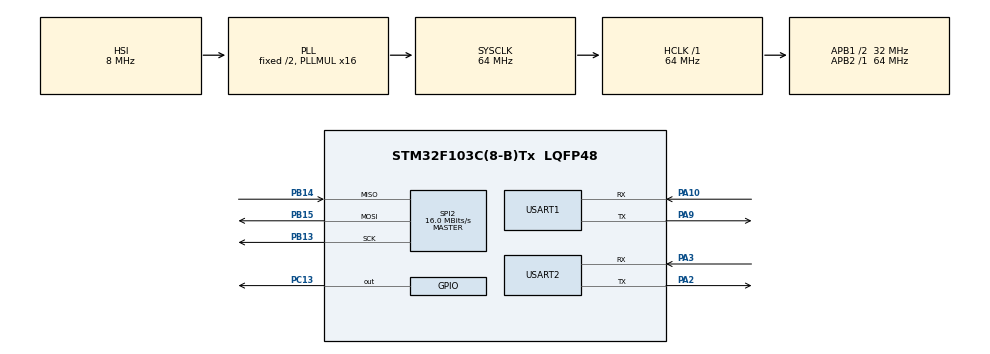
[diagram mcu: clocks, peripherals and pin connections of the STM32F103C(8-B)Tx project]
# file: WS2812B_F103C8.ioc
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Mcu.Family=STM32F1
Mcu.Name=STM32F103C(8-B)Tx
Mcu.Package=LQFP48
NVIC.PriorityGroup=NVIC_PRIORITYGROUP_4
NVIC.SPI2_IRQn=true\:0\:0\:false\:false\:true\:true\:true\:true
NVIC.USART1_IRQn=true\:0\:0\:false\:false\:true\:true\:true\:true
NVIC.USART2_IRQn=true\:0\:0\:false\:false\:true\:true\:true\:true
PA10.Mode=Asynchronous
PA10.Signal=USART1_RX
PA13.Mode=Serial_Wire
PA13.Signal=SYS_JTMS-SWDIO
PA14.Mode=Serial_Wire
PA14.Signal=SYS_JTCK-SWCLK
PA2.Mode=Asynchronous
PA2.Signal=USART2_TX
PA3.Mode=Asynchronous
PA3.Signal=USART2_RX
PA9.Mode=Asynchronous
PA9.Signal=USART1_TX
PB13.Mode=Full_Duplex_Master
PB13.Signal=SPI2_SCK
PB14.Mode=Full_Duplex_Master
PB14.Signal=SPI2_MISO
PB15.Mode=Full_Duplex_Master
PB15.Signal=SPI2_MOSI
PC13-TAMPER-RTC.Signal=GPIO_Output
ProjectManager.HeapSize=0x200
ProjectManager.StackSize=0x400
ProjectManager.TargetToolchain=Makefile
RCC.AHBFreq_Value=64000000
RCC.APB1CLKDivider=RCC_HCLK_DIV2
RCC.APB1Freq_Value=32000000
RCC.APB1TimFreq_Value=64000000
RCC.APB2Freq_Value=64000000
RCC.APB2TimFreq_Value=64000000
RCC.HCLKFreq_Value=64000000
RCC.PLLMUL=RCC_PLL_MUL16
RCC.SYSCLKFreq_VALUE=64000000
RCC.SYSCLKSource=RCC_SYSCLKSOURCE_PLLCLK
RCC.USBFreq_Value=64000000
SPI2.CalculateBaudRate=16.0 MBits/s
SPI2.Direction=SPI_DIRECTION_2LINES
SPI2.Mode=SPI_MODE_MASTER
SPI2.VirtualType=VM_MASTER
TIM4.Channel-Output\ Compare1\ No\ Output=TIM_CHANNEL_1
USART1.VirtualMode=VM_ASYNC
USART2.VirtualMode=VM_ASYNC
VP_TIM4_VS_no_output1.Mode=Output Compare1 No Output
board=custom

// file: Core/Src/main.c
/* USER CODE BEGIN Header */
/**
  ******************************************************************************
  * @file           : main.c
  * @brief          : Main program body
  ******************************************************************************
  * @attention
  *
  * Copyright (c) 2025 STMicroelectronics.
  * All rights reserved.
  *
  * This software is licensed under terms that can be found in the LICENSE file
  * in the root directory of this software component.
  * If no LICENSE file comes with this software, it is provided AS-IS.
  *
  ******************************************************************************
  */
/* USER CODE END Header */
#include "main.h"

/* USER CODE BEGIN Includes */
#include "NOS_Lib.h"
/* USER CODE END Includes */

SPI_HandleTypeDef hspi2;

TIM_HandleTypeDef htim4;

UART_HandleTypeDef huart1;
UART_HandleTypeDef huart2;

/* USER CODE BEGIN PV */
extern uint8_t frameBufferA[3 * 512];
extern uint8_t frameBufferB[3 * 512];
extern uint8_t frameBufferC[3 * 512];
extern uint8_t frameBufferD[3 * 512];

NOS_TimeEvent screenUpdateEvent = {0};

WS2812B_Strip stripA = {0};
WS2812B_Strip stripB = {0};
WS2812B_Strip stripC = {0};
WS2812B_Strip stripD = {0};

PixelColor pixelsA[512];
PixelColor pixelsB[512];
PixelColor pixelsC[512];
PixelColor pixelsD[512];

NOS_UART_Struct UART2;
NOS_UART_Struct UART1;

int receiveTime = 0;

int uartPixelCount = 0;

int currColor = 0;
int buttonDelay = 0;

Effect_Struct breatheA = {0};
Effect_Struct rainbowA = {0};
Effect_Struct dotsA = {0};
Effect_Struct walkingPixelA = {0};
Effect_Struct steadyColorA = {0};

NOS_Short value;

UART_Message lastMessage;
UART_Message bluetoothMessage;

NOS_Flash_Chunk tempInitChunk = {0};

NOS_Flash_Memory_Struct flashMemoryStruct = {0};

PixelColor nullColor = {0,0,0};
PixelColor white = {255,255,255};

/* USER CODE END PV */

void SystemClock_Config(void);
static void MX_GPIO_Init(void);
static void MX_TIM4_Init(void);
static void MX_USART2_UART_Init(void);
static void MX_SPI2_Init(void);
static void MX_USART1_UART_Init(void);

/* USER CODE BEGIN 0 */

void HAL_UART_RxCpltCallback(UART_HandleTypeDef* huart) {
  if(huart->Instance == USART2)
  {
    NOS_UART_ReceiveHandler(&UART2,huart);

  }

  if(huart->Instance == USART1)
  {
    NOS_UART_ReceiveHandler(&UART1,huart);

  }
}

bool tick = false;
bool screenUpdate = false;
/* USER CODE END 0 */
//#define FLASH_REBUILD
int main(void)
{

  /* MCU Configuration--------------------------------------------------------*/

  /* Reset of all peripherals, Initializes the Flash interface and the Systick. */
  HAL_Init();

  /* Configure the system clock */
  SystemClock_Config();

  /* Initialize all configured peripherals */
  MX_GPIO_Init();
  MX_TIM4_Init();
  MX_USART2_UART_Init();
  MX_SPI2_Init();
  MX_USART1_UART_Init();
  /* USER CODE BEGIN 2 */

  HAL_UART_Receive_IT(&huart1,UART1.rx_buff,1);
  HAL_UART_Receive_IT(&huart2,UART2.rx_buff,1);

 // HAL_UART_Transmit(&huart1,"HELLO",sizeof("HELLO"),1000);
  HAL_UART_Transmit(&huart2,"HELLO",sizeof("HELLO"),1000);

  visInit();

  NOS_WS2812B_Strip_FullInit(&stripA,&frameBufferA,&pixelsA,128);
  NOS_WS2812B_Strip_FullInit(&stripB,&frameBufferB,&pixelsB,128);
  NOS_WS2812B_Strip_FullInit(&stripC,&frameBufferC,&pixelsC,128);
  NOS_WS2812B_Strip_FullInit(&stripD,&frameBufferD,&pixelsD,128);

  NOS_TimeEvent_Init(&screenUpdateEvent, 20);

  NOS_UART_ReceiveAbort(&UART2,&huart2);
  NOS_UART_ReceiveAbort(&UART1,&huart1);

  NOS_FlashMemory_Struct_Init(&flashMemoryStruct,FLASH_STORAGE_A);

  NOS_Flash_Chunk_Init(&tempInitChunk,&breatheA,sizeof(Effect_Struct));
  NOS_FlashMemory_Struct_AddChunk(&flashMemoryStruct,&tempInitChunk);

  NOS_Flash_Chunk_Init(&tempInitChunk,&rainbowA,sizeof(Effect_Struct));
  NOS_FlashMemory_Struct_AddChunk(&flashMemoryStruct,&tempInitChunk);

  NOS_Flash_Chunk_Init(&tempInitChunk,&dotsA,sizeof(Effect_Struct));
  NOS_FlashMemory_Struct_AddChunk(&flashMemoryStruct,&tempInitChunk);

  NOS_Flash_Chunk_Init(&tempInitChunk,&walkingPixelA,sizeof(Effect_Struct));
  NOS_FlashMemory_Struct_AddChunk(&flashMemoryStruct,&tempInitChunk);

  NOS_Flash_Chunk_Init(&tempInitChunk,&steadyColorA,sizeof(Effect_Struct));
  NOS_FlashMemory_Struct_AddChunk(&flashMemoryStruct,&tempInitChunk);

  #ifndef FLASH_REBUILD
  if(NOS_FlashMemory_Struct_Validate(&flashMemoryStruct))
  {
    NOS_Flash_Memory_Struct_Load(&flashMemoryStruct);
  }
  else
  {
    NOS_WS2812B_Strip_Effect_Init(&breatheA,&nullColor,100,1,60,80,0,0,0,0,EFFECT_BREATHE_ID,true);
    NOS_WS2812B_Strip_Effect_Init(&rainbowA,&nullColor,1000,1,200,800,0,0,0,0,EFFECT_RAINBOW_ID,true);
    NOS_WS2812B_Strip_Effect_Init(&dotsA,&white,40,1,0,100,0,0,0,0,EFFECT_DOTS_ID,true);
    NOS_WS2812B_Strip_Effect_Init(&walkingPixelA,&white,1000,1,0,48,3,0,0,0,EFFECT_WALKING_PIXELS_ID,true);
    NOS_WS2812B_Strip_Effect_Init(&steadyColorA,&white,0,0,0,0,0,0,0,0,EFFECT_STEADY_COLOR_ID,true);
  }
  #endif

  #ifdef FLASH_REBUILD
  NOS_WS2812B_Strip_Effect_Init(&breatheA,&nullColor,100,1,60,80,0,0,0,0,EFFECT_BREATHE_ID,true);
  NOS_WS2812B_Strip_Effect_Init(&rainbowA,&nullColor,1000,1,200,800,0,0,0,0,EFFECT_RAINBOW_ID,false);
  NOS_WS2812B_Strip_Effect_Init(&dotsA,&white,40,1,0,100,0,0,0,0,EFFECT_DOTS_ID,true);
  NOS_WS2812B_Strip_Effect_Init(&walkingPixelA,&white,100,1,0,48,3,0,0,0,EFFECT_WALKING_PIXELS_ID,false);
  NOS_WS2812B_Strip_Effect_Init(&steadyColorA,&white,0,0,0,0,0,0,0,0,EFFECT_STEADY_COLOR_ID,false);
  #endif

  NOS_WS2812B_Strip_Effects_AddEffect(&stripA,breatheA);
  NOS_WS2812B_Strip_Effects_AddEffect(&stripB,breatheA);
  NOS_WS2812B_Strip_Effects_AddEffect(&stripC,breatheA);
  NOS_WS2812B_Strip_Effects_AddEffect(&stripD,breatheA);

  NOS_WS2812B_Strip_Effects_AddEffect(&stripA,rainbowA);
  NOS_WS2812B_Strip_Effects_AddEffect(&stripB,rainbowA);
  NOS_WS2812B_Strip_Effects_AddEffect(&stripC,rainbowA);
  NOS_WS2812B_Strip_Effects_AddEffect(&stripD,rainbowA);

  NOS_WS2812B_Strip_Effects_AddEffect(&stripA,dotsA);
  NOS_WS2812B_Strip_Effects_AddEffect(&stripB,dotsA);
  NOS_WS2812B_Strip_Effects_AddEffect(&stripC,dotsA);
  NOS_WS2812B_Strip_Effects_AddEffect(&stripD,dotsA);

  NOS_WS2812B_Strip_Effects_AddEffect(&stripA,walkingPixelA);
  NOS_WS2812B_Strip_Effects_AddEffect(&stripB,walkingPixelA);
  NOS_WS2812B_Strip_Effects_AddEffect(&stripC,walkingPixelA);
  NOS_WS2812B_Strip_Effects_AddEffect(&stripD,walkingPixelA);

  NOS_WS2812B_Strip_Effects_AddEffect(&stripA,steadyColorA);
  NOS_WS2812B_Strip_Effects_AddEffect(&stripB,steadyColorA);
  NOS_WS2812B_Strip_Effects_AddEffect(&stripC,steadyColorA);
  NOS_WS2812B_Strip_Effects_AddEffect(&stripD,steadyColorA);

  NOS_WS2812B_Strip_Update(&stripA);
  NOS_WS2812B_Strip_Update(&stripB);
  NOS_WS2812B_Strip_Update(&stripC);
  NOS_WS2812B_Strip_Update(&stripD);

  //NOS_Strip_UART_ParseStringCommand(&stripC,"&/Breathe/70/80/20/true/&/Rainbow/#0000ff/#7f00ff/60/false/&/Dots/#ff00ff/60/true/&/Walking/#ffff00/5/70/false/&/Steady/#00ff00/false/&",136);
  /* USER CODE END 2 */

  /* Infinite loop */
  /* USER CODE BEGIN WHILE */
  while (1)
  {

    if(tick)
    {
          NOS_UART_Timer_Handler(&UART2);
          NOS_UART_Timer_Handler(&UART1);

          NOS_TimeEvent_TickHandler(&screenUpdateEvent);

          NOS_WS2812B_Strip_Effects_Handler(&stripA);
          NOS_WS2812B_Strip_Effects_Handler(&stripB);
          NOS_WS2812B_Strip_Effects_Handler(&stripC);
          NOS_WS2812B_Strip_Effects_Handler(&stripD);
          tick = false;
    }

    if(NOS_UART_CheckReceive(&UART1))
    {
      if(NOS_Strip_UART_ParseStringCommand(&stripA,UART1.rx_buff,UART1.lastMessageSize))
      {
        NOS_Strip_UART_ParseStringCommand(&stripB,UART1.rx_buff,UART1.lastMessageSize);
        NOS_Strip_UART_ParseStringCommand(&stripC,UART1.rx_buff,UART1.lastMessageSize);
        NOS_Strip_UART_ParseStringCommand(&stripD,UART1.rx_buff,UART1.lastMessageSize);

        NOS_WS2812B_Strip_Effect_Copy(&breatheA,&stripA.effects[0]);
        NOS_WS2812B_Strip_Effect_Copy(&rainbowA,&stripA.effects[1]);
        NOS_WS2812B_Strip_Effect_Copy(&dotsA,&stripA.effects[2]);
        NOS_WS2812B_Strip_Effect_Copy(&walkingPixelA,&stripA.effects[3]);
        NOS_WS2812B_Strip_Effect_Copy(&steadyColorA,&stripA.effects[4]);

        NOS_Flash_Memory_Struct_Save(&flashMemoryStruct);
      }

      NOS_UART_EndReceive(&UART1);
      HAL_GPIO_TogglePin(GPIOC,GPIO_PIN_13);

      NOS_WS2812B_Strip_Clear(&stripA);
      NOS_WS2812B_Strip_Clear(&stripB);
      NOS_WS2812B_Strip_Clear(&stripC);
      NOS_WS2812B_Strip_Clear(&stripD);

      NOS_WS2812B_Strip_Update(&stripA);
      NOS_WS2812B_Strip_Update(&stripB);
      NOS_WS2812B_Strip_Update(&stripC);
      NOS_WS2812B_Strip_Update(&stripD);
      visHandle();

    }

    if(NOS_UART_CheckReceive(&UART2))
    {
      if(NOS_UART_ParsePacket(&UART2,&lastMessage))
      {

      switch (lastMessage.channel.data)
      {
        //Global leds strips commands
        case 0x01:

          NOS_Strip_UART_ParseCommand(&stripA,&lastMessage);
          NOS_Strip_UART_ParseCommand(&stripB,&lastMessage);
          NOS_Strip_UART_ParseCommand(&stripC,&lastMessage);
          NOS_Strip_UART_ParseCommand(&stripD,&lastMessage);

          NOS_WS2812B_Strip_Effect_Copy(&breatheA,&stripA.effects[0]);
          NOS_WS2812B_Strip_Effect_Copy(&rainbowA,&stripA.effects[1]);
          NOS_WS2812B_Strip_Effect_Copy(&dotsA,&stripA.effects[2]);
          NOS_WS2812B_Strip_Effect_Copy(&walkingPixelA,&stripA.effects[3]);
          NOS_WS2812B_Strip_Effect_Copy(&steadyColorA,&stripA.effects[4]);

          NOS_Flash_Memory_Struct_Save(&flashMemoryStruct);

        break;

        //stripA commands
        case 0x02:

          NOS_Strip_UART_ParseCommand(&stripA,&lastMessage);
          NOS_WS2812B_Strip_Effect_Copy(&dotsA,&stripA.effects[2]);
          NOS_Flash_Memory_Struct_Save(&flashMemoryStruct);

        break;

        //stripB commands
        case 0x03:

          NOS_Strip_UART_ParseCommand(&stripB,&lastMessage);
          NOS_WS2812B_Strip_Effect_Copy(&dotsA,&stripB.effects[2]);
          NOS_Flash_Memory_Struct_Save(&flashMemoryStruct);

        break;

        //stripC commands
        case 0x04:

          NOS_Strip_UART_ParseCommand(&stripC,&lastMessage);
          NOS_WS2812B_Strip_Effect_Copy(&dotsA,&stripC.effects[2]);
          NOS_Flash_Memory_Struct_Save(&flashMemoryStruct);

        break;

        //stripD commands
        case 0x05:

          NOS_Strip_UART_ParseCommand(&stripD,&lastMessage);
          NOS_WS2812B_Strip_Effect_Copy(&dotsA,&stripD.effects[2]);
          NOS_Flash_Memory_Struct_Save(&flashMemoryStruct);

        break;

          default:
          break;
        }
      }

      NOS_UART_EndReceive(&UART2);
      HAL_GPIO_TogglePin(GPIOC,GPIO_PIN_13);

      NOS_UART_PacketApprovedNotice(&lastMessage,&huart2);

      NOS_WS2812B_Strip_Update(&stripA);
      NOS_WS2812B_Strip_Update(&stripB);
      NOS_WS2812B_Strip_Update(&stripC);
      NOS_WS2812B_Strip_Update(&stripD);
      visHandle();

    }

    if (NOS_TimeEvent_Check(&screenUpdateEvent))
    {

      NOS_WS2812B_Strip_Update(&stripA);
      NOS_WS2812B_Strip_Update(&stripB);
      NOS_WS2812B_Strip_Update(&stripC);
      NOS_WS2812B_Strip_Update(&stripD);

      visHandle();

      NOS_TimeEvent_FinishEvent(&screenUpdateEvent);
    }
    /* USER CODE END WHILE */

  }
}

void SystemClock_Config(void)
{
  RCC_OscInitTypeDef RCC_OscInitStruct = {0};
  RCC_ClkInitTypeDef RCC_ClkInitStruct = {0};

  /** Initializes the RCC Oscillators according to the specified parameters
  * in the RCC_OscInitTypeDef structure.
  */
  RCC_OscInitStruct.OscillatorType = RCC_OSCILLATORTYPE_HSI;
  RCC_OscInitStruct.HSIState = RCC_HSI_ON;
  RCC_OscInitStruct.HSICalibrationValue = RCC_HSICALIBRATION_DEFAULT;
  RCC_OscInitStruct.PLL.PLLState = RCC_PLL_ON;
  RCC_OscInitStruct.PLL.PLLSource = RCC_PLLSOURCE_HSI_DIV2;
  RCC_OscInitStruct.PLL.PLLMUL = RCC_PLL_MUL16;
  if (HAL_RCC_OscConfig(&RCC_OscInitStruct) != HAL_OK)
  {
    Error_Handler();
  }

  /** Initializes the CPU, AHB and APB buses clocks
  */
  RCC_ClkInitStruct.ClockType = RCC_CLOCKTYPE_HCLK|RCC_CLOCKTYPE_SYSCLK
                              |RCC_CLOCKTYPE_PCLK1|RCC_CLOCKTYPE_PCLK2;
  RCC_ClkInitStruct.SYSCLKSource = RCC_SYSCLKSOURCE_PLLCLK;
  RCC_ClkInitStruct.AHBCLKDivider = RCC_SYSCLK_DIV1;
  RCC_ClkInitStruct.APB1CLKDivider = RCC_HCLK_DIV2;
  RCC_ClkInitStruct.APB2CLKDivider = RCC_HCLK_DIV1;

  if (HAL_RCC_ClockConfig(&RCC_ClkInitStruct, FLASH_LATENCY_2) != HAL_OK)
  {
    Error_Handler();
  }
}

static void MX_SPI2_Init(void)
{

  /* SPI2 parameter configuration*/
  hspi2.Instance = SPI2;
  hspi2.Init.Mode = SPI_MODE_MASTER;
  hspi2.Init.Direction = SPI_DIRECTION_2LINES;
  hspi2.Init.DataSize = SPI_DATASIZE_8BIT;
  hspi2.Init.CLKPolarity = SPI_POLARITY_LOW;
  hspi2.Init.CLKPhase = SPI_PHASE_1EDGE;
  hspi2.Init.NSS = SPI_NSS_SOFT;
  hspi2.Init.BaudRatePrescaler = SPI_BAUDRATEPRESCALER_2;
  hspi2.Init.FirstBit = SPI_FIRSTBIT_MSB;
  hspi2.Init.TIMode = SPI_TIMODE_DISABLE;
  hspi2.Init.CRCCalculation = SPI_CRCCALCULATION_DISABLE;
  hspi2.Init.CRCPolynomial = 10;
  if (HAL_SPI_Init(&hspi2) != HAL_OK)
  {
    Error_Handler();
  }

}

static void MX_TIM4_Init(void)
{

  TIM_MasterConfigTypeDef sMasterConfig = {0};
  TIM_OC_InitTypeDef sConfigOC = {0};

  htim4.Instance = TIM4;
  htim4.Init.Prescaler = 0;
  htim4.Init.CounterMode = TIM_COUNTERMODE_UP;
  htim4.Init.Period = 65535;
  htim4.Init.ClockDivision = TIM_CLOCKDIVISION_DIV1;
  htim4.Init.AutoReloadPreload = TIM_AUTORELOAD_PRELOAD_DISABLE;
  if (HAL_TIM_OC_Init(&htim4) != HAL_OK)
  {
    Error_Handler();
  }
  sMasterConfig.MasterOutputTrigger = TIM_TRGO_RESET;
  sMasterConfig.MasterSlaveMode = TIM_MASTERSLAVEMODE_DISABLE;
  if (HAL_TIMEx_MasterConfigSynchronization(&htim4, &sMasterConfig) != HAL_OK)
  {
    Error_Handler();
  }
  sConfigOC.OCMode = TIM_OCMODE_TIMING;
  sConfigOC.Pulse = 0;
  sConfigOC.OCPolarity = TIM_OCPOLARITY_HIGH;
  sConfigOC.OCFastMode = TIM_OCFAST_DISABLE;
  if (HAL_TIM_OC_ConfigChannel(&htim4, &sConfigOC, TIM_CHANNEL_1) != HAL_OK)
  {
    Error_Handler();
  }

}

static void MX_USART1_UART_Init(void)
{

  huart1.Instance = USART1;
  huart1.Init.BaudRate = 115200;
  huart1.Init.WordLength = UART_WORDLENGTH_8B;
  huart1.Init.StopBits = UART_STOPBITS_1;
  huart1.Init.Parity = UART_PARITY_NONE;
  huart1.Init.Mode = UART_MODE_TX_RX;
  huart1.Init.HwFlowCtl = UART_HWCONTROL_NONE;
  huart1.Init.OverSampling = UART_OVERSAMPLING_16;
  if (HAL_UART_Init(&huart1) != HAL_OK)
  {
    Error_Handler();
  }

}

static void MX_USART2_UART_Init(void)
{

  huart2.Instance = USART2;
  huart2.Init.BaudRate = 460800;
  huart2.Init.WordLength = UART_WORDLENGTH_8B;
  huart2.Init.StopBits = UART_STOPBITS_1;
  huart2.Init.Parity = UART_PARITY_NONE;
  huart2.Init.Mode = UART_MODE_TX_RX;
  huart2.Init.HwFlowCtl = UART_HWCONTROL_NONE;
  huart2.Init.OverSampling = UART_OVERSAMPLING_16;
  if (HAL_UART_Init(&huart2) != HAL_OK)
  {
    Error_Handler();
  }

}

static void MX_GPIO_Init(void)
{
  GPIO_InitTypeDef GPIO_InitStruct = {0};

  /* GPIO Ports Clock Enable */
  __HAL_RCC_GPIOC_CLK_ENABLE();
  __HAL_RCC_GPIOA_CLK_ENABLE();
  __HAL_RCC_GPIOB_CLK_ENABLE();

  /*Configure GPIO pin Output Level */
  HAL_GPIO_WritePin(GPIOC, GPIO_PIN_13, GPIO_PIN_RESET);

  /*Configure GPIO pin : PC13 */
  GPIO_InitStruct.Pin = GPIO_PIN_13;
  GPIO_InitStruct.Mode = GPIO_MODE_OUTPUT_PP;
  GPIO_InitStruct.Pull = GPIO_NOPULL;
  GPIO_InitStruct.Speed = GPIO_SPEED_FREQ_LOW;
  HAL_GPIO_Init(GPIOC, &GPIO_InitStruct);

}

/* USER CODE BEGIN 4 */
void SysTick_Handler(void)
{
  /* USER CODE BEGIN SysTick_IRQn 0 */

  /* USER CODE END SysTick_IRQn 0 */
  HAL_IncTick();
  /* USER CODE BEGIN SysTick_IRQn 1 */
  tick = true;
  /* USER CODE END SysTick_IRQn 1 */
}
/* USER CODE END 4 */

void Error_Handler(void)
{
  __disable_irq();
  while (1)
  {
  }
}
